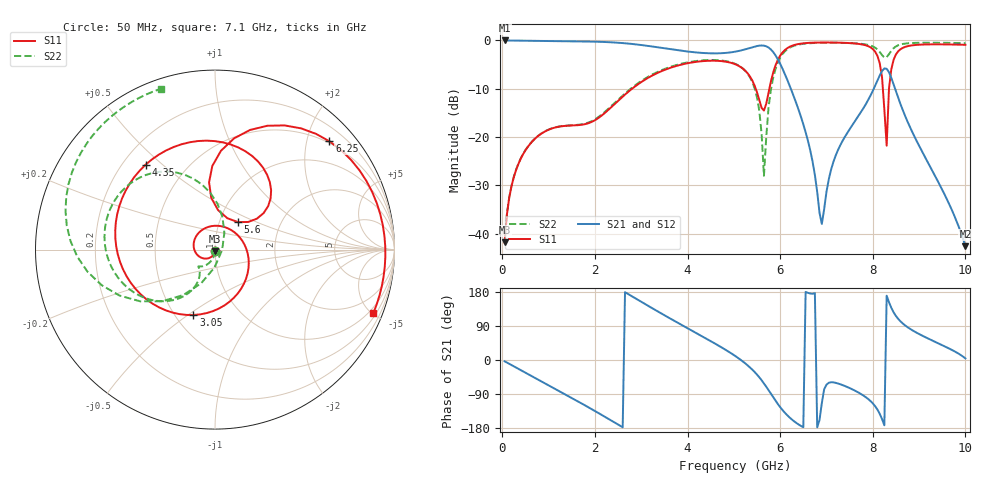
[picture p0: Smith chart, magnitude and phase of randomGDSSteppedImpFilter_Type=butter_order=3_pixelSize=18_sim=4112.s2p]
! freq	dB(S11)	phase(S11)	dB(S12)	phase(S12)
!  dB(S21)	phase(S21)	dB(S22)	phase(S22)
!S-par simulation data
#  GHz  S  DB  R 50
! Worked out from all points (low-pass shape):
!   200 points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, 50 MHz to 10 GHz, reference 50 ohm
!   highest |S21| = -0.02 dB at 50 MHz (marker M1); lowest = -42.6 dB at 10 GHz (marker M2)
!   |S21| within 3 dB of the highest: start of sweep to 5.894 GHz
!   lowest |S11| = -41.8 dB at 50 MHz (marker M3), VSWR 1.02, Z = 50 - j0.809 ohm
!   |S11| at or under -10 dB: start of sweep to 2.803 GHz; 5.472 GHz to 5.767 GHz (294.6 MHz wide, 5.24 % of centre); 8.218 GHz to 8.35 GHz (132.3 MHz wide, 1.6 % of centre)
!   |S22| runs from -41.8 to -0.5 dB; largest |S21 - S12| = 0
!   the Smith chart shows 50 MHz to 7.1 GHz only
!   S11 on the Smith chart (normalised r, x): 50 MHz: 1.00, -0.02; 3.05 GHz: 0.61, -0.53; 4.35 GHz: 0.29, +0.44; 5.6 GHz: 1.23, +0.39; 6.25 GHz: 0.46, +2.44; 7.1 GHz: 0.69, -5.10
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0.05  -41.84 -86.5  -0.02 -3.4  -0.02 -3.4  -41.76 -84.2
0.5  -22.76 -136.3  -0.07 -33.4  -0.07 -33.4  -22.70 -111.0
1.75  -17.42 75.8  -0.22 -117.2  -0.22 -117.2  -17.31 -131.0
2.4  -13.41 -29.2  -0.42 -163.1  -0.42 -163.1  -13.17 -118.2
3.05  -8.32 -108.3  -1.02 150.0  -1.02 150.0  -8.11 -133.1
3.4  -6.53 -144.0  -1.49 125.2  -1.49 125.2  -6.33 -146.9
4.35  -4.28 129.2  -2.62 60.1  -2.62 60.1  -4.12 171.1
5.05  -5.02 68.3  -2.30 8.9  -2.30 8.9  -4.94 132.6
5.4  -8.34 39.3  -1.42 -25.6  -1.42 -25.6  -8.65 101.2
5.6  -13.98 50.0  -1.05 -53.5  -1.05 -53.5  -19.41 60.8
5.65  -14.53 68.3  -1.09 -61.8  -1.09 -61.8  -28.03 -4.3
5.85  -6.64 91.9  -2.42 -98.3  -2.42 -98.3  -7.71 -135.6
6.25  -1.13 43.4  -10.48 -156.7  -10.48 -156.7  -1.30 165.4
6.7  -0.47 4.6  -25.10 174.8  -25.10 174.8  -0.55 130.7
6.9  -0.43 -9.1  -38.01 -113.6  -38.01 -113.6  -0.50 119.1
7.1  -0.44 -21.8  -26.75 -58.6  -26.75 -58.6  -0.49 108.4
7.95  -1.43 -81.1  -11.44 -108.2  -11.44 -108.2  -1.07 64.3
8.2  -7.62 -124.7  -6.35 -155.8  -6.35 -155.8  -3.04 53.8
8.3  -21.79 -12.5  -5.88 169.7  -5.88 169.7  -3.49 61.5
8.35  -10.01 -7.2  -6.59 152.6  -6.59 152.6  -2.86 64.1
8.85  -1.03 -72.1  -18.91 78.8  -18.91 78.8  -0.54 36.8
10  -0.92 -124.8  -42.61 4.2  -42.61 4.2  -0.57 -20.4
